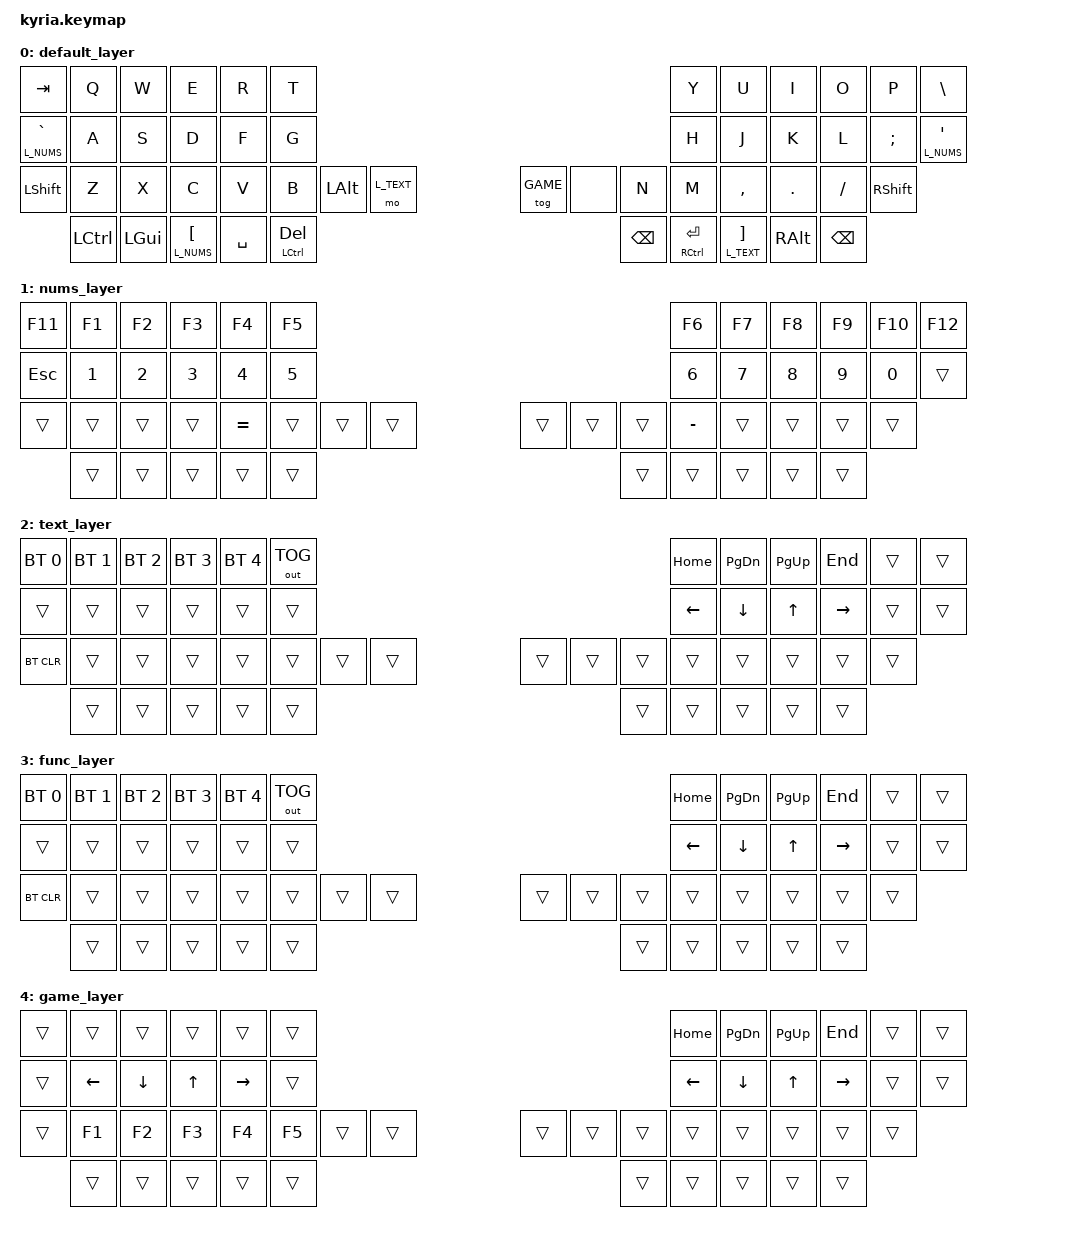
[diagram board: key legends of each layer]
#define DEFAULT 0
#define L_NUMS 1
#define L_TEXT 2
#define FUNC 3
#define GAME 4

#include <behaviors.dtsi>
#include <dt-bindings/zmk/keys.h>
#include <dt-bindings/zmk/bt.h>
#include <dt-bindings/zmk/outputs.h>

/ {

	conditional_layers {
		compatible = "zmk,conditional-layers";
		tri_layer {
			if-layers = <L_NUMS L_TEXT>;
			then-layer = <FUNC>;
		};
	};



	keymap {
		compatible = "zmk,keymap";

		default_layer {
			bindings = <
	&kp TAB          &kp Q &kp W &kp E &kp R &kp T                                                                     &kp Y &kp U  &kp I     &kp O   &kp P    &kp BSLH
	&lt L_NUMS GRAVE &kp A &kp S &kp D &kp F &kp G                                                                     &kp H &kp J  &kp K     &kp L   &kp SEMI &lt L_NUMS SQT 
	&kp LSHFT        &kp Z &kp X &kp C &kp V &kp B   &kp LALT &mo L_TEXT                   &tog GAME  &none      &kp N &kp M  &kp COMMA &kp DOT &kp FSLH &kp RSHFT
	                    &kp LCTRL &kp LGUI &lt L_NUMS LBKT &kp SPACE &mt LCTRL DEL         &kp BSPC      &mt RCTRL RET &lt L_TEXT RBKT &kp RALT &kp BSPC
			>;
		};

		nums_layer {
			bindings = <
	&kp F11   &kp F1    &kp F2    &kp F3    &kp F4    &kp F5                                              &kp F6    &kp F7    &kp F8    &kp F9    &kp F10   &kp F12
	&kp ESC   &kp N1    &kp N2    &kp N3    &kp N4    &kp N5                                              &kp N6    &kp N7    &kp N8    &kp N9    &kp N0    &trans
	&trans    &trans    &trans    &trans    &kp EQUAL &trans    &trans    &trans      &trans    &trans    &trans    &kp MINUS &trans    &trans    &trans    &trans  
	                              &trans    &trans    &trans    &trans    &trans      &trans    &trans    &trans    &trans    &trans    
			>;
		};
		
		text_layer {
			bindings = <
	&bt BT_SEL 0    &bt BT_SEL 1    &bt BT_SEL 2    &bt BT_SEL 3    &bt BT_SEL 4    &out OUT_TOG                                              &kp HOME  &kp PG_DN &kp PG_UP &kp END   &trans    &trans  
	&trans          &trans          &trans          &trans          &trans          &trans                                                    &kp LEFT  &kp DOWN  &kp UP    &kp RIGHT &trans    &trans  
	&bt BT_CLR      &trans          &trans          &trans          &trans          &trans          &trans    &trans      &trans    &trans    &trans    &trans    &trans    &trans    &trans    &trans  
	                                                &trans          &trans          &trans          &trans    &trans      &trans    &trans    &trans    &trans    &trans    
			>;
		};

		func_layer {
			bindings = <
	&bt BT_SEL 0    &bt BT_SEL 1    &bt BT_SEL 2    &bt BT_SEL 3    &bt BT_SEL 4    &out OUT_TOG                                              &kp HOME  &kp PG_DN &kp PG_UP &kp END   &trans    &trans  
	&trans          &trans          &trans          &trans          &trans          &trans                                                    &kp LEFT  &kp DOWN  &kp UP    &kp RIGHT &trans    &trans  
	&bt BT_CLR      &trans          &trans          &trans          &trans          &trans          &trans    &trans      &trans    &trans    &trans    &trans    &trans    &trans    &trans    &trans  
	                                                &trans          &trans          &trans          &trans    &trans      &trans    &trans    &trans    &trans    &trans    
			>;
		};

		game_layer {
			bindings = <
	&trans          &trans          &trans          &trans          &trans          &trans                                                    &kp HOME  &kp PG_DN &kp PG_UP &kp END   &trans    &trans  
	&trans          &kp LEFT        &kp DOWN        &kp UP          &kp RIGHT       &trans                                                    &kp LEFT  &kp DOWN  &kp UP    &kp RIGHT &trans    &trans  
	&trans      &kp F1          &kp F2          &kp F3          &kp F4          &kp F5          &trans    &trans      &trans    &trans    &trans    &trans    &trans    &trans    &trans    &trans  
	                                                &trans          &trans          &trans          &trans    &trans      &trans    &trans    &trans    &trans    &trans    
			>;
		};
	};
};

